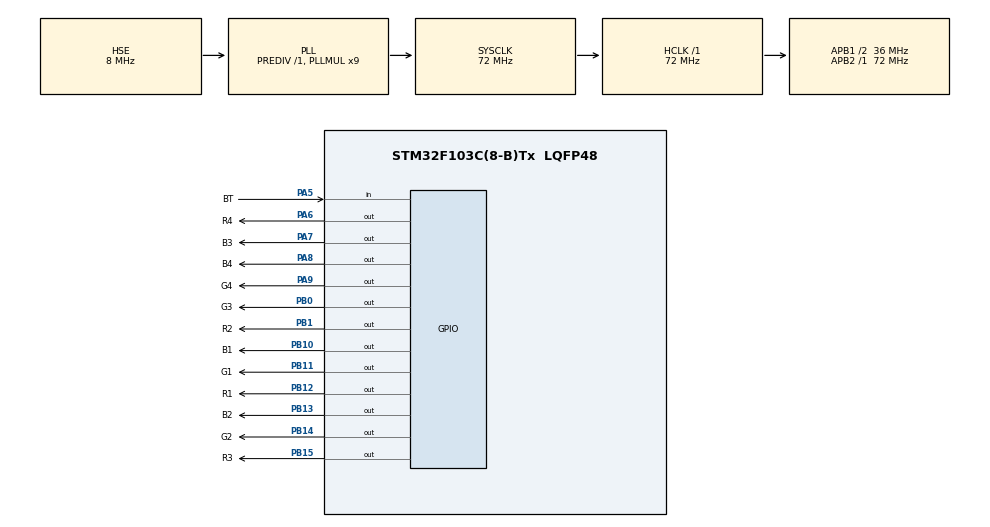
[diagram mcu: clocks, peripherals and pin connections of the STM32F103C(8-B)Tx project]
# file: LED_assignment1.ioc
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Mcu.Family=STM32F1
Mcu.Name=STM32F103C(8-B)Tx
Mcu.Package=LQFP48
NVIC.PriorityGroup=NVIC_PRIORITYGROUP_4
PA13.Mode=Serial_Wire
PA13.Signal=SYS_JTMS-SWDIO
PA14.Mode=Serial_Wire
PA14.Signal=SYS_JTCK-SWCLK
PA5.GPIO_Label=BT
PA5.GPIO_PuPd=GPIO_PULLUP
PA5.Signal=GPIO_Input
PA6.GPIO_Label=R4
PA6.GPIO_PuPd=GPIO_NOPULL
PA6.Signal=GPIO_Output
PA7.GPIO_Label=B3
PA7.Signal=GPIO_Output
PA8.GPIO_Label=B4
PA8.Signal=GPIO_Output
PA9.GPIO_Label=G4
PA9.Signal=GPIO_Output
PB0.GPIO_Label=G3
PB0.Signal=GPIO_Output
PB1.GPIO_Label=R2
PB1.Signal=GPIO_Output
PB10.GPIO_Label=B1
PB10.Signal=GPIO_Output
PB11.GPIO_Label=G1
PB11.Signal=GPIO_Output
PB12.GPIO_Label=R1
PB12.Signal=GPIO_Output
PB13.GPIO_Label=B2
PB13.Signal=GPIO_Output
PB14.GPIO_Label=G2
PB14.Signal=GPIO_Output
PB15.GPIO_Label=R3
PB15.Signal=GPIO_Output
PD0-OSC_IN.Mode=HSE-External-Oscillator
PD0-OSC_IN.Signal=RCC_OSC_IN
PD1-OSC_OUT.Mode=HSE-External-Oscillator
PD1-OSC_OUT.Signal=RCC_OSC_OUT
ProjectManager.HeapSize=0x200
ProjectManager.StackSize=0x400
ProjectManager.TargetToolchain=MDK-ARM V5.32
RCC.AHBFreq_Value=72000000
RCC.APB1CLKDivider=RCC_HCLK_DIV2
RCC.APB1Freq_Value=36000000
RCC.APB1TimFreq_Value=72000000
RCC.APB2Freq_Value=72000000
RCC.APB2TimFreq_Value=72000000
RCC.HCLKFreq_Value=72000000
RCC.PLLMUL=RCC_PLL_MUL9
RCC.PLLSourceVirtual=RCC_PLLSOURCE_HSE
RCC.SYSCLKFreq_VALUE=72000000
RCC.SYSCLKSource=RCC_SYSCLKSOURCE_PLLCLK
RCC.USBFreq_Value=72000000
board=custom

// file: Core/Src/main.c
/* USER CODE BEGIN Header */
/**
  ******************************************************************************
  * @file           : main.c
  * @brief          : Main program body
  ******************************************************************************
  * @attention
  *
  * Copyright (c) 2026 STMicroelectronics.
  * All rights reserved.
  *
  * This software is licensed under terms that can be found in the LICENSE file
  * in the root directory of this software component.
  * If no LICENSE file comes with this software, it is provided AS-IS.
  *
  ******************************************************************************
  */
/* USER CODE END Header */
#include "main.h"

#include "led_rgb.h"
#include "multiple_button.h"

/* USER CODE BEGIN PTD */
typedef enum
{
	STATE_OFF,
	STATE_FADE_IN_OUT,
	STATE_RAINBOW_BLINK,
	STATE_RAINBOW_FOLLOW,

} ledStatus;

ledStatus led_state;

/* USER CODE END PTD */

/* USER CODE BEGIN PD */

GPIO_TypeDef *port_led1[] = {R1_GPIO_Port,B1_GPIO_Port,G1_GPIO_Port};
GPIO_TypeDef *port_led2[] = {R2_GPIO_Port,B2_GPIO_Port,G2_GPIO_Port};
GPIO_TypeDef *port_led3[] = {R3_GPIO_Port,B3_GPIO_Port,G3_GPIO_Port};
GPIO_TypeDef *port_led4[] = {R4_GPIO_Port,B4_GPIO_Port,G4_GPIO_Port};
uint16_t pin_led1[]={R1_Pin,B1_Pin,G1_Pin};
uint16_t pin_led2[]={R2_Pin,B2_Pin,G2_Pin};
uint16_t pin_led3[]={R3_Pin,B3_Pin,G3_Pin};
uint16_t pin_led4[]={R4_Pin,B4_Pin,G4_Pin};

BUTTON button;
RGB led1,led2,led3,led4;

uint8_t btn;
/* USER CODE END PD */

void SystemClock_Config(void);
static void MX_GPIO_Init(void);

/* USER CODE BEGIN 0 */

void btn_pressing_callback(BUTTON *button)

{
	switch (led_state)
	{
		case STATE_OFF:
			led_state=STATE_FADE_IN_OUT;
			break;
		case STATE_FADE_IN_OUT:
			led_state=STATE_RAINBOW_BLINK;
			break;
		case STATE_RAINBOW_BLINK:
			led_state=STATE_RAINBOW_FOLLOW;
			break;
		case STATE_RAINBOW_FOLLOW:
			led_state=STATE_OFF;
			break;
		default:
			break;
	}

}

void state_off()
{
	rgb_setcolor(&led1, OFF);
	rgb_setcolor(&led2, OFF);
	rgb_setcolor(&led3, OFF);
	rgb_setcolor(&led4, OFF);
}

typedef enum
{
	led1on,
	led2on,
	led3on,
	led4on,
	led4off,
	led3off,
	led2off,
	led1off,
}EFFECT1;
EFFECT1 effect1;

void state_fade_in_out()
{

	if (HAL_GetTick() - led1.last_time_on >= 300)
	{
		switch (effect1)
		{
			case led1on:
				rgb_setcolor(&led1,RED);
				break;
			case led2on:
				rgb_setcolor(&led2,GREEN);
				break;
			case led3on:
				rgb_setcolor(&led3,BLUE);
				break;
			case led4on:
				rgb_setcolor(&led4,WHITE);
				break;
			case led4off:
				rgb_setcolor(&led4,OFF);
				break;
			case led3off:
				rgb_setcolor(&led3,OFF);
				break;
			case led2off:
				rgb_setcolor(&led2,OFF);
				break;
			case led1off:
				rgb_setcolor(&led1,OFF);
				break;
		}
		switch(effect1)
		{
			case led1on:
				effect1=led2on;
				break;
			case led2on:
				effect1=led3on;
				break;
			case led3on:
				effect1=led4on;
				break;
			case led4on:
				effect1=led4off;
				break;
			case led4off:
				effect1=led3off;
				break;
			case led3off:
				effect1=led2off;
				break;
			case led2off:
				effect1=led1off;
				break;
			case led1off:
				effect1=led1on;
				break;
		}

		led1.last_time_on=HAL_GetTick();
	}
}

Color color1;

void state_rainbow_blink()
{

	///
	if (HAL_GetTick() - led1.last_time_on >= 500)
	{
		rgb_setcolor(&led1,OFF);
		rgb_setcolor(&led2,OFF);
		rgb_setcolor(&led3,OFF);
		rgb_setcolor(&led4,OFF);
		switch (color1)
		{
				case RED:
					rgb_setcolor(&led1,color1);
					rgb_setcolor(&led2,color1);
					rgb_setcolor(&led3,color1);
					rgb_setcolor(&led4,color1);
					break;
				case GREEN:
					rgb_setcolor(&led1,color1);
					rgb_setcolor(&led2,color1);
					rgb_setcolor(&led3,color1);
					rgb_setcolor(&led4,color1);
					break;
				case BLUE:
					rgb_setcolor(&led1,color1);
					rgb_setcolor(&led2,color1);
					rgb_setcolor(&led3,color1);
					rgb_setcolor(&led4,color1);
					break;
				case PURPLE:
					rgb_setcolor(&led1,color1);
					rgb_setcolor(&led2,color1);
					rgb_setcolor(&led3,color1);
					rgb_setcolor(&led4,color1);
					break;
				case YELLOW:
					rgb_setcolor(&led1,color1);
					rgb_setcolor(&led2,color1);
					rgb_setcolor(&led3,color1);
					rgb_setcolor(&led4,color1);
					break;
				case WHITE:
					rgb_setcolor(&led1,color1);
					rgb_setcolor(&led2,color1);
					rgb_setcolor(&led3,color1);
					rgb_setcolor(&led4,color1);
					break;
				case OFF:
					break;
		}

		switch (color1)
		{
			case RED:
				color1=GREEN;
				break;
			case GREEN:
				color1=BLUE;
				break;
			case BLUE:
				color1=PURPLE;
				break;
			case PURPLE:
				color1=YELLOW;
				break;
			case YELLOW:
				color1=WHITE;
				break;
			case WHITE:
				color1=RED;
				break;
			case OFF:
				break;

		}
		led1.last_time_on=HAL_GetTick();
	}
}

typedef enum
{
	led1_2,
	led2_3,
	led3_4,
	led4_1,
} EFFECT3;

EFFECT3 effect3;
Color color2;
void switch_effect3()
{
	color2=RED;
	switch (effect3)
		{
			case led1_2:
				effect3=led2_3;
				break;
			case led2_3:
				effect3=led3_4;
				break;
			case led3_4:
				effect3=led4_1;
				break;
			case led4_1:
				effect3=led1_2;
				break;
		}
}

void state_rainbow_follow()
{
		if (HAL_GetTick() - led3.last_time_on >= 500)
	{
		rgb_setcolor(&led1,OFF);
		rgb_setcolor(&led2,OFF);
		rgb_setcolor(&led3,OFF);
		rgb_setcolor(&led4,OFF);

		switch (effect3)
		{
				case led1_2:
					rgb_setcolor(&led1,OFF);
					rgb_setcolor(&led1,color2);
					rgb_setcolor(&led2,OFF);
					rgb_setcolor(&led2,color2);

					break;
				case led2_3:
					rgb_setcolor(&led2,OFF);
					rgb_setcolor(&led2,color2);
					rgb_setcolor(&led3,OFF);
					rgb_setcolor(&led3,color2);
					break;
				case led3_4:
					rgb_setcolor(&led3,OFF);
					rgb_setcolor(&led3,color2);
					rgb_setcolor(&led4,OFF);
					rgb_setcolor(&led4,color2);
					break;
				case led4_1:
					rgb_setcolor(&led1,OFF);
					rgb_setcolor(&led1,color2);
					rgb_setcolor(&led4,OFF);
					rgb_setcolor(&led4,color2);
					break;
		}

		switch (color2)
		{
			case RED:
				color2=GREEN;
				break;
			case GREEN:
				color2=BLUE;
				break;
			case BLUE:
				color2=PURPLE;
				break;
			case PURPLE:
				color2=YELLOW;
				break;
			case YELLOW:
				color2=WHITE;
				break;
			case WHITE:
				switch_effect3();
				break;
			case OFF:

				break;

		}

		led3.last_time_on=HAL_GetTick();
	}
}

void led_handle()
{
	switch(led_state)
	{
		case STATE_OFF:
			state_off();
			break;
		case STATE_FADE_IN_OUT:
			state_fade_in_out();
			break;
		case STATE_RAINBOW_BLINK:
			state_rainbow_blink();
			break;
		case STATE_RAINBOW_FOLLOW:
			state_rainbow_follow();
			break;
		default:
			break;

	}
}
/* USER CODE END 0 */

int main(void)
{

  /* MCU Configuration--------------------------------------------------------*/

  /* Reset of all peripherals, Initializes the Flash interface and the Systick. */
  HAL_Init();

  /* USER CODE BEGIN Init */
	button_init(&button,BT_GPIO_Port,BT_Pin);
	rgb_init(&led1,port_led1,pin_led1);
	rgb_init(&led2,port_led2,pin_led2);
	rgb_init(&led3,port_led3,pin_led3);
	rgb_init(&led4,port_led4,pin_led4);

  /* USER CODE END Init */

  /* Configure the system clock */
  SystemClock_Config();

  /* Initialize all configured peripherals */
  MX_GPIO_Init();

  /* Infinite loop */
  while (1)
  {

    /* USER CODE BEGIN 3 */

		button_handle(&button);

		led_handle();

  }
  /* USER CODE END 3 */
}

void SystemClock_Config(void)
{
  RCC_OscInitTypeDef RCC_OscInitStruct = {0};
  RCC_ClkInitTypeDef RCC_ClkInitStruct = {0};

  /** Initializes the RCC Oscillators according to the specified parameters
  * in the RCC_OscInitTypeDef structure.
  */
  RCC_OscInitStruct.OscillatorType = RCC_OSCILLATORTYPE_HSE;
  RCC_OscInitStruct.HSEState = RCC_HSE_ON;
  RCC_OscInitStruct.HSEPredivValue = RCC_HSE_PREDIV_DIV1;
  RCC_OscInitStruct.HSIState = RCC_HSI_ON;
  RCC_OscInitStruct.PLL.PLLState = RCC_PLL_ON;
  RCC_OscInitStruct.PLL.PLLSource = RCC_PLLSOURCE_HSE;
  RCC_OscInitStruct.PLL.PLLMUL = RCC_PLL_MUL9;
  if (HAL_RCC_OscConfig(&RCC_OscInitStruct) != HAL_OK)
  {
    Error_Handler();
  }

  /** Initializes the CPU, AHB and APB buses clocks
  */
  RCC_ClkInitStruct.ClockType = RCC_CLOCKTYPE_HCLK|RCC_CLOCKTYPE_SYSCLK
                              |RCC_CLOCKTYPE_PCLK1|RCC_CLOCKTYPE_PCLK2;
  RCC_ClkInitStruct.SYSCLKSource = RCC_SYSCLKSOURCE_PLLCLK;
  RCC_ClkInitStruct.AHBCLKDivider = RCC_SYSCLK_DIV1;
  RCC_ClkInitStruct.APB1CLKDivider = RCC_HCLK_DIV2;
  RCC_ClkInitStruct.APB2CLKDivider = RCC_HCLK_DIV1;

  if (HAL_RCC_ClockConfig(&RCC_ClkInitStruct, FLASH_LATENCY_2) != HAL_OK)
  {
    Error_Handler();
  }
}

static void MX_GPIO_Init(void)
{
  GPIO_InitTypeDef GPIO_InitStruct = {0};

  /* GPIO Ports Clock Enable */
  __HAL_RCC_GPIOD_CLK_ENABLE();
  __HAL_RCC_GPIOA_CLK_ENABLE();
  __HAL_RCC_GPIOB_CLK_ENABLE();

  /*Configure GPIO pin Output Level */
  HAL_GPIO_WritePin(GPIOA, R4_Pin|B3_Pin|B4_Pin|G4_Pin, GPIO_PIN_RESET);

  /*Configure GPIO pin Output Level */
  HAL_GPIO_WritePin(GPIOB, G3_Pin|R2_Pin|B1_Pin|G1_Pin
                          |R1_Pin|B2_Pin|G2_Pin|R3_Pin, GPIO_PIN_RESET);

  /*Configure GPIO pin : BT_Pin */
  GPIO_InitStruct.Pin = BT_Pin;
  GPIO_InitStruct.Mode = GPIO_MODE_INPUT;
  GPIO_InitStruct.Pull = GPIO_PULLUP;
  HAL_GPIO_Init(BT_GPIO_Port, &GPIO_InitStruct);

  /*Configure GPIO pins : R4_Pin B3_Pin B4_Pin G4_Pin */
  GPIO_InitStruct.Pin = R4_Pin|B3_Pin|B4_Pin|G4_Pin;
  GPIO_InitStruct.Mode = GPIO_MODE_OUTPUT_PP;
  GPIO_InitStruct.Pull = GPIO_NOPULL;
  GPIO_InitStruct.Speed = GPIO_SPEED_FREQ_LOW;
  HAL_GPIO_Init(GPIOA, &GPIO_InitStruct);

  /*Configure GPIO pins : G3_Pin R2_Pin B1_Pin G1_Pin
                           R1_Pin B2_Pin G2_Pin R3_Pin */
  GPIO_InitStruct.Pin = G3_Pin|R2_Pin|B1_Pin|G1_Pin
                          |R1_Pin|B2_Pin|G2_Pin|R3_Pin;
  GPIO_InitStruct.Mode = GPIO_MODE_OUTPUT_PP;
  GPIO_InitStruct.Pull = GPIO_NOPULL;
  GPIO_InitStruct.Speed = GPIO_SPEED_FREQ_LOW;
  HAL_GPIO_Init(GPIOB, &GPIO_InitStruct);

}

void Error_Handler(void)
{
  __disable_irq();
  while (1)
  {
  }
}
